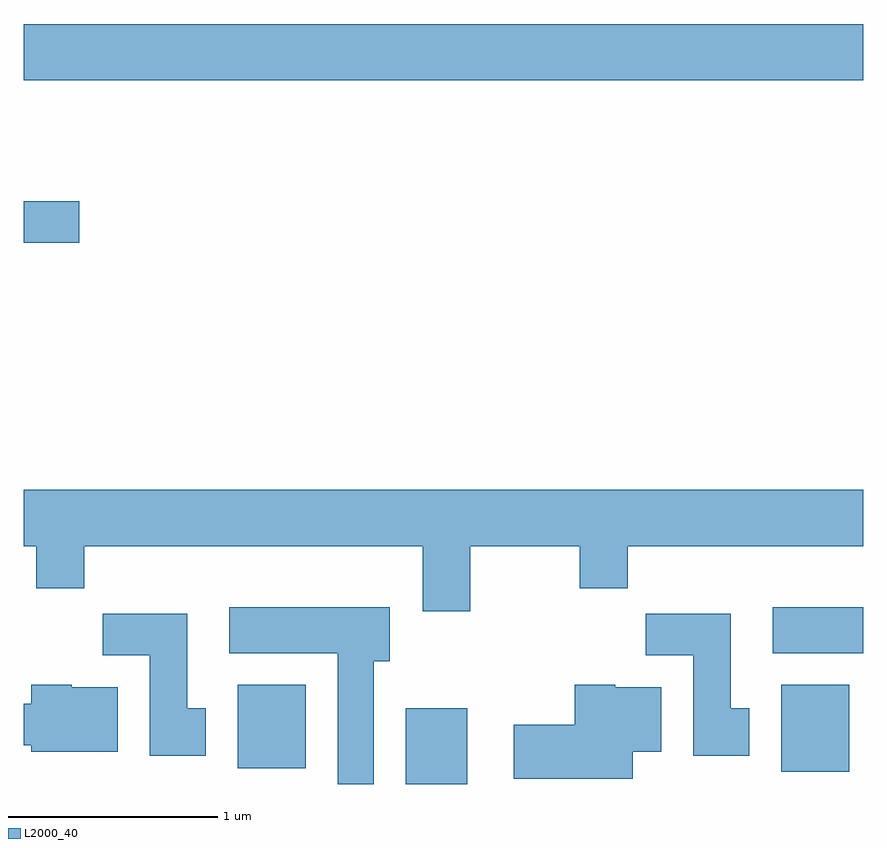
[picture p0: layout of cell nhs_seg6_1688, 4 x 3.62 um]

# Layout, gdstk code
import gdstk
lib = gdstk.Library(unit=1e-6, precision=1e-09)
def R(c, l, rs):  # rectangles x0, y0, x1, y1
    for r in rs: c.add(gdstk.rectangle(r[:2], r[2:], *l))
def P(c, l, *ps):  # polygons
    for p in ps: c.add(gdstk.Polygon(p, *l))
L2000_40 = (2000, 40)

nhs_seg6_1688 = lib.new_cell('nhs_seg6_1688')
R(nhs_seg6_1688, L2000_40, [(237.431,1622.162,237.724,1622.524), (239.221,1622.221,239.544,1622.634), (236.631,1622.236,236.954,1622.634), (239.181,1622.786,239.611,1623.004), (235.611,1624.741,235.874,1624.939), (235.611,1625.516,239.611,1625.784)])
P(nhs_seg6_1688, L2000_40, [(237.739,1623.296),(238.261,1623.296),(238.261,1623.096),(238.489,1623.096),(238.489,1623.296),(239.611,1623.296),(239.611,1623.564),(235.611,1623.564),(235.611,1623.296),(235.671,1623.296),(235.671,1623.096),(235.899,1623.096),(235.899,1623.296),(237.511,1623.296),(237.511,1622.986),(237.739,1622.986)],
  [(237.279,1622.746),(237.354,1622.746),(237.354,1623.004),(236.591,1623.004),(236.591,1622.786),(237.106,1622.786),(237.106,1622.162),(237.279,1622.162)],
  [(239.069,1622.524),(238.979,1622.524),(238.979,1622.974),(238.576,1622.974),(238.576,1622.776),(238.801,1622.776),(238.801,1622.296),(239.069,1622.296)],
  [(236.479,1622.524),(236.389,1622.524),(236.389,1622.974),(235.986,1622.974),(235.986,1622.776),(236.211,1622.776),(236.211,1622.296),(236.479,1622.296)],
  [(236.059,1622.624),(235.84,1622.624),(235.84,1622.634),(235.646,1622.634),(235.646,1622.544),(235.611,1622.544),(235.611,1622.346),(235.646,1622.346),(235.646,1622.316),(236.059,1622.316)],
  [(238.514,1622.316),(238.649,1622.316),(238.649,1622.624),(238.43,1622.624),(238.43,1622.634),(238.236,1622.634),(238.236,1622.444),(237.946,1622.444),(237.946,1622.186),(238.514,1622.186)])

lib.write_gds('nhs_seg6_1688.gds')
